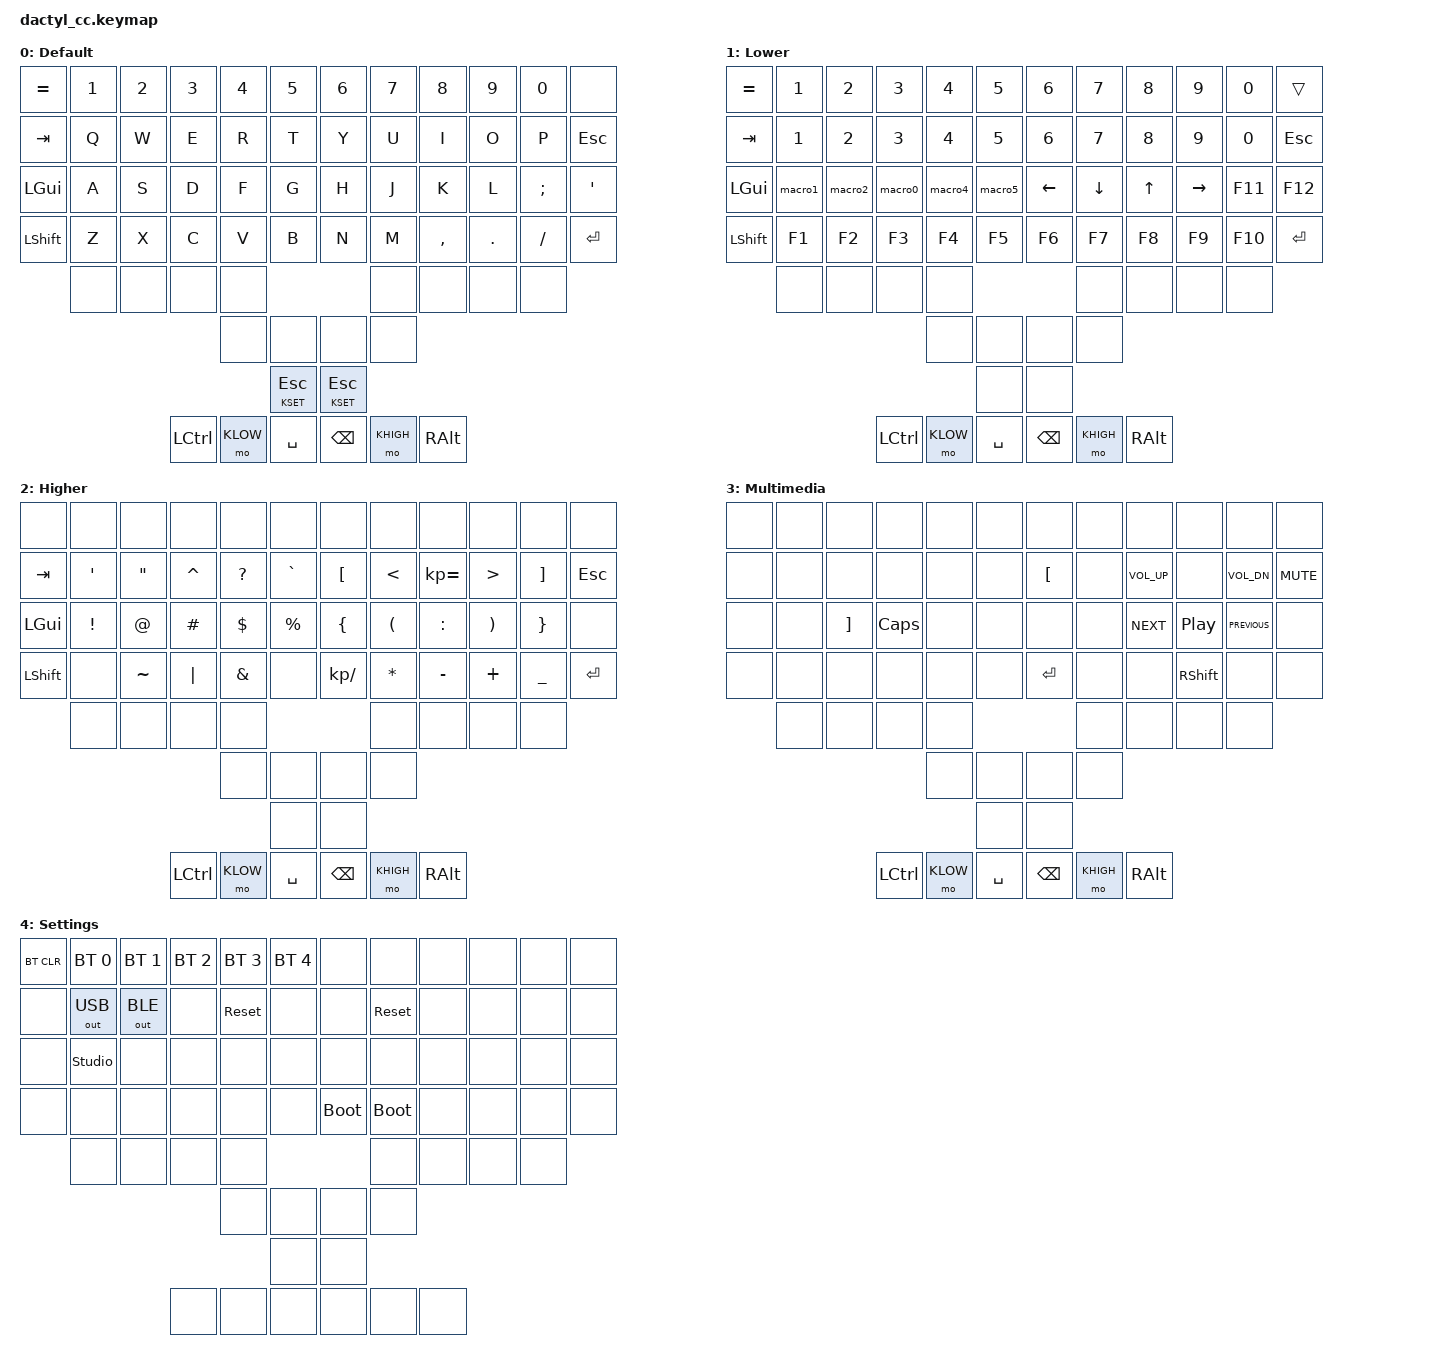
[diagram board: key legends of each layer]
#include <behaviors.dtsi>
#include <dt-bindings/zmk/keys.h>
#include <dt-bindings/zmk/bt.h>
#include <dt-bindings/zmk/outputs.h>

#define KDEF         0 // Default layer
#define KLOW         1 // Lower layer
#define KHIGH        2 // Higher layer
#define KMULT        3 // Multimedia layer
#define KSET         4 // Settings layer

// Modifiers
#define HYPER(key)   LS(LC(LA(LG(key)))) // LSHFT+LCTRL+LALT+LGUI
#define MEH(key)     LS(LC(LA(key))) // LSHFT+LCTRL+LALT
#define GC(key)      LG(LC(key)) // LGUI+LCTRL

// Shortcuts
#define SP           SPACE
#define ALTGR        RALT

#define BRI_DN       C_BRIGHTNESS_DEC
#define BRI_UP       C_BRIGHTNESS_INC
#define VOL_UP       C_VOLUME_UP
#define VOL_DN       C_VOLUME_DOWN


&kscan0 {
       debounce-press-ms = <30>;
       debounce-release-ms = <30>;
};

/ {
       behaviors {
              bsdel: backspace_delete {
                     compatible = "zmk,behavior-mod-morph";
                     #binding-cells = <0>;
                     bindings = <&kp BACKSPACE>, <&kp DELETE>;
                     mods = <(MOD_LSFT|MOD_RSFT)>;
              };
              studio_unlock: studio_unlock {
                     compatible = "zmk,behavior-studio-unlock";
                     #binding-cells = <0>;
              };       };

       macros {
              /**
              * Temporarily switches to a layer (`&mo`) while a modifier is held.
              * Analogous to QMK's `LM()`, using a parameterized macro.
              *
              * Params:
              *  1. Layer to switch to
              *  2. Modifier to press while layer is active
              *
              * Example:
              *  `&lm NUM_LAYER LSHIFT`
              */
              lm: lm {
                     compatible = "zmk,behavior-macro-two-param";
                     wait-ms = <0>;
                     tap-ms = <0>;
                     #binding-cells = <2>;
                     bindings
                         = <&macro_param_1to1>
                         , <&macro_press &mo MACRO_PLACEHOLDER>
                         , <&macro_param_2to1>
                         , <&macro_press &kp MACRO_PLACEHOLDER>
                         , <&macro_pause_for_release>
                         , <&macro_param_2to1>
                         , <&macro_release &kp MACRO_PLACEHOLDER>
                         , <&macro_param_1to1>
                         , <&macro_release &mo MACRO_PLACEHOLDER>
                         ;
              };
              macro0: macro0 {
                  compatible = "zmk,behavior-macro";
                  #binding-cells = <0>;

                  wait-ms = <100>;

                  bindings =
                      <&macro_press &kp LALT>
                      , <&macro_tap &kp SPACE>
                      , <&macro_release &kp LALT>;
              };
              macro1: macro1 {
                  compatible = "zmk,behavior-macro";
                  #binding-cells = <0>;

                  wait-ms = <50>;

                  bindings =
                      <&macro_press &kp LSHIFT>
                      , <&macro_press &kp LGUI>
                      , <&macro_tap &kp PG_UP>
                      , <&macro_release &kp LGUI>
                      , <&macro_release &kp LSHIFT>;
              };
              macro2: macro2 {
                  compatible = "zmk,behavior-macro";
                  #binding-cells = <0>;

                  wait-ms = <50>;

                  bindings =
                      <&macro_press &kp LGUI>
                      , <&macro_tap &kp PG_UP>
                      , <&macro_release &kp LGUI>;
              };
              macro4: macro4 {
                  compatible = "zmk,behavior-macro";
                  #binding-cells = <0>;

                  wait-ms = <50>;

                  bindings =
                      <&macro_press &kp LGUI>
                      , <&macro_tap &kp PG_DN>
                      , <&macro_release &kp LGUI>;
              };
              macro5: macro5 {
                  compatible = "zmk,behavior-macro";
                  #binding-cells = <0>;

                  wait-ms = <50>;

                  bindings =
                      <&macro_press &kp LSHIFT>
                      , <&macro_press &kp LGUI>
                      , <&macro_tap &kp PG_DN>
                      , <&macro_release &kp LGUI>
                      , <&macro_release &kp LSHIFT>;
              };
       };

       conditional_layers {
           compatible = "zmk,conditional-layers";

           multimedia_tri_layer {
               if-layers = <KLOW KHIGH>;
               then-layer = <KMULT>;
           };
       };

       keymap {
              compatible = "zmk,keymap";

              default_layer {
                     display-name = "Default";
                     bindings = <
&kp EQUAL     &kp N1        &kp N2        &kp N3        &kp N4        &kp N5        &kp N6        &kp N7        &kp N8        &kp N9        &kp N0        &none
&kp TAB       &kp Q         &kp W         &kp E         &kp R         &kp T         &kp Y         &kp U         &kp I         &kp O         &kp P         &kp ESC
&kp LGUI      &kp A         &kp S         &kp D         &kp F         &kp G         &kp H         &kp J         &kp K         &kp L         &kp SEMI      &kp SQT
&kp LSHFT     &kp Z         &kp X         &kp C         &kp V         &kp B         &kp N         &kp M         &kp COMMA     &kp DOT       &kp FSLH      &kp ENTER
              &none         &none         &none         &none                                     &none         &none         &none         &none
                                                        &none         &none         &none         &none
                                                                      &lt KSET ESC  &lt KSET ESC
                                          &kp LCTRL     &mo KLOW      &kp SPACE     &kp BSPC      &mo KHIGH     &kp RALT
                     >;
              };

              lower_layer {
                     display-name = "Lower";
                     bindings = <
&kp EQUAL     &kp N1        &kp N2        &kp N3        &kp N4        &kp N5        &kp N6        &kp N7        &kp N8        &kp N9        &kp N0        &trans
&kp TAB       &kp N1        &kp N2        &kp N3        &kp N4        &kp N5        &kp N6        &kp N7        &kp N8        &kp N9        &kp N0        &kp ESC
&kp LGUI      &macro1       &macro2       &macro0       &macro4       &macro5       &kp LEFT      &kp DOWN      &kp UP        &kp RIGHT     &kp F11       &kp F12
&kp LSHFT     &kp F1        &kp F2        &kp F3        &kp F4        &kp F5        &kp F6        &kp F7        &kp F8        &kp F9        &kp F10       &kp ENTER
              &none         &none         &none         &none                                     &none         &none         &none         &none
                                                        &none         &none         &none         &none
                                                                      &none         &none
                                          &kp LCTRL     &mo KLOW      &kp SPACE     &kp BSPC      &mo KHIGH     &kp RALT
                     >;
              };

              higher_layer {
                     display-name = "Higher";
                     bindings = <
&none         &none          &none              &none               &none              &none           &none        &none         &none          &none       &none          &none
&kp TAB       &kp SQT        &kp DQT            &kp CARET           &kp QMARK          &kp GRAVE       &kp LBKT     &kp LT        &kp KP_EQUAL   &kp GT      &kp RBKT       &kp ESC
&kp LGUI      &kp EXCL       &kp AT             &kp HASH            &kp DLLR           &kp PRCNT       &kp LBRC     &kp LPAR      &kp COLON      &kp RPAR    &kp RBRC       &none
&kp LSHFT     &none          &kp TILDE          &kp PIPE            &kp AMPS           &none           &kp KP_SLASH &kp ASTRK     &kp MINUS      &kp PLUS    &kp UNDERSCORE &kp ENTER
              &none          &none              &none               &none                                           &none         &none          &none       &none
                                                                    &none              &none           &none        &none
                                                                                       &none           &none
                                                &kp LCTRL           &mo KLOW           &kp SPACE       &kp BSPC     &mo KHIGH     &kp RALT
                     >;
              };

              multimedia_layer {
                     display-name = "Multimedia";
                     bindings = <
&none         &none         &none           &none           &none         &none         &none           &none         &none         &none            &none           &none
&none         &none         &none           &none           &none         &none         &kp LBKT        &none         &kp C_VOL_UP  &none            &kp C_VOL_DN    &kp C_MUTE
&none         &none         &kp RBKT        &kp CAPS        &none         &none         &none           &none         &kp C_NEXT    &kp C_PLAY_PAUSE &kp C_PREVIOUS  &none
&none         &none         &none           &none           &none         &none         &kp ENTER       &none         &none         &kp RSHFT        &none           &none
              &none         &none           &none           &none                                       &none         &none         &none            &none
                                                            &none         &none         &none           &none
                                                                          &none         &none
                                            &kp LCTRL       &mo KLOW      &kp SPACE     &kp BSPC        &mo KHIGH     &kp RALT
                     >;
              };

              settings_layer {
                     display-name = "Settings";
                     bindings = <
&bt BT_CLR    &bt BT_SEL 0  &bt BT_SEL 1  &bt BT_SEL 2  &bt BT_SEL 3  &bt BT_SEL 4  &none         &none         &none         &none         &none         &none
&none         &out OUT_USB  &out OUT_BLE  &none         &sys_reset    &none         &none         &sys_reset    &none         &none         &none         &none
&none         &studio_unlock &none        &none         &none         &none         &none         &none         &none         &none         &none         &none
&none         &none         &none         &none         &none         &none         &bootloader   &bootloader   &none         &none         &none         &none
              &none         &none         &none         &none                                     &none         &none         &none         &none
                                                        &none         &none         &none         &none
                                                                      &none         &none
                                          &none         &none         &none         &none         &none         &none
                     >;
              };

       };
};
